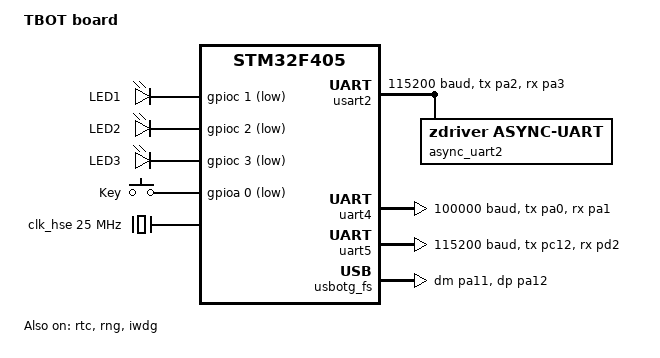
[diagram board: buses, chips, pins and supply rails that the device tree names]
/*
 * Copyright (c) 2017 Linaro Limited
 * Copyright (c) 2019 Centaur Analytics, Inc
 *
 * SPDX-License-Identifier: Apache-2.0
 */

/dts-v1/;
#include <st/f4/stm32f405Xg.dtsi>
#include <st/f4/stm32f405rgtx-pinctrl.dtsi>
#include <zephyr/dt-bindings/input/input-event-codes.h>
#include <zephyr/dt-bindings/dma/stm32_dma.h>

/ {
	model = "TBOT board";
	compatible = "st,stm32f405";

	chosen {
		zephyr,console = &uart5;
		// zephyr,shell-uart = &usart2;
		zephyr,sram = &sram0;
		zephyr,ccm = &ccm0;
		zephyr,flash = &flash0;
	};

	leds {
		compatible = "gpio-leds";
		led_1: led_1 {
			gpios = <&gpioc 1 GPIO_ACTIVE_LOW>;
			label = "LED1";
		};
		led_2: led_2 {
			gpios = <&gpioc 2 GPIO_ACTIVE_LOW>;
			label = "LED2";
		};
		led_3: led_3 {
			gpios = <&gpioc 3 GPIO_ACTIVE_LOW>;
			label = "LED3";
		};
	};

	gpio_keys {
		compatible = "gpio-keys";

		user_button: button {
			label = "Key";
			gpios = <&gpioa 0 GPIO_ACTIVE_LOW>;
			zephyr,code = <INPUT_KEY_0>;
		};
	};

	aliases {
		led1 = &led_1;
		led2 = &led_2;
		led3 = &led_3;
		sw0 = &user_button;
		watchdog0 = &iwdg;
	};
};

&clk_lsi {
	status = "okay";
};

&clk_hse {
	clock-frequency = <DT_FREQ_M(25)>;
	status = "okay";
};

&pll {
	div-m = <25>;
	mul-n = <336>;
	div-p = <2>;
	div-q = <4>;
	clocks = <&clk_hse>;
	status = "okay";
};

&rcc {
	clocks = <&pll>;
	clock-frequency = <DT_FREQ_M(168)>; /* highest value to get a precise USB clock */
	ahb-prescaler = <1>;
	apb1-prescaler = <4>;
	apb2-prescaler = <2>;
};

&dma1 {
	status = "okay";
};

//&usart2 {
//	pinctrl-0 = <&usart2_tx_pa2 &usart2_rx_pa3>;
//	pinctrl-names = "default";
//	current-speed = <115200>;
////	dmas = <&dma1 6 4 (STM32_DMA_PRIORITY_MEDIUM | STM32_DMA_PERIPH_TX)  0x03>,
////	       <&dma1 5 4 (STM32_DMA_PRIORITY_MEDIUM | STM32_DMA_PERIPH_RX)  0x03>;
////	dma-names = "tx", "rx";
//	status = "okay";
//};

&usart2 {
	pinctrl-0 = <&usart2_tx_pa2 &usart2_rx_pa3>;
	pinctrl-names = "default";
	current-speed = <115200>;
	status = "okay";
	dmas = <&dma1 5 4 (STM32_DMA_PRIORITY_MEDIUM | STM32_DMA_PERIPH_RX) 0x03>,
		   <&dma1 6 4 (STM32_DMA_PRIORITY_MEDIUM | STM32_DMA_PERIPH_TX) 0x03>;
	dma-names = "rx", "tx";

	async_uart2: zdrv_async_usart {
		compatible = "zdriver,async-uart";
		status = "okay";
	};
};

// dma-mask rx = 01 0 00 00 1 0 0 10 0000 00  0x10480
// reference: https://docs.zephyrproject.org/3.6.0/build/dts/api/bindings/dma/st%2Cstm32-dma-v1.html#dtbinding-st-stm32-dma-v1
&uart4 {
	pinctrl-0 = <&uart4_tx_pa0 &uart4_rx_pa1>;
	pinctrl-names = "default";
	current-speed = <100000>;
	dmas = <&dma1 2 4 (STM32_DMA_PRIORITY_MEDIUM | STM32_DMA_PERIPH_RX)  0x03>;
	dma-names = "rx";
	status = "okay";
};

&uart5 {
	pinctrl-0 = <&uart5_tx_pc12 &uart5_rx_pd2>;
	pinctrl-names = "default";
	current-speed = <115200>;
	status = "okay";
};

&rtc {
	clocks = <&rcc STM32_CLOCK_BUS_APB1 0x10000000>,
			 <&rcc STM32_SRC_LSI RTC_SEL(2)>;
	status = "okay";
};

&rng {
	status = "okay";
};

&iwdg {
	status = "okay";
};

zephyr_udc0: &usbotg_fs {
	pinctrl-0 = <&usb_otg_fs_dm_pa11 &usb_otg_fs_dp_pa12>;
	pinctrl-names = "default";
	status = "okay";
};
